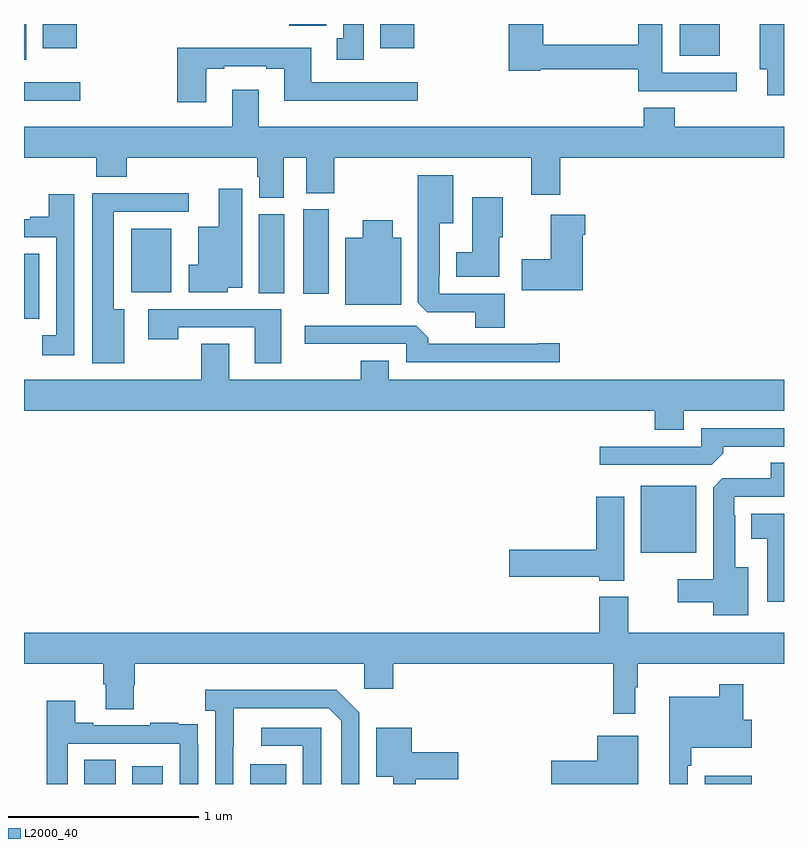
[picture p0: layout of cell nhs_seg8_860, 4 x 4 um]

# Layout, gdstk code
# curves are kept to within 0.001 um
import gdstk
lib = gdstk.Library(unit=1e-6, precision=1e-09)
def R(c, l, rs):  # rectangles x0, y0, x1, y1
    for r in rs: c.add(gdstk.rectangle(r[:2], r[2:], *l))
def P(c, l, *ps):  # polygons
    for p in ps: c.add(gdstk.Polygon(p, *l))
L2000_40 = (2000, 40)

nhs_seg8_860 = lib.new_cell('nhs_seg8_860')
R(nhs_seg8_860, L2000_40, [(167.318,1083.9,167.482,1084.028), (167.57,1083.9,167.731,1083.994), (168.191,1083.9,168.379,1084.003), (170.582,1083.9,170.831,1083.943), (170.246,1085.117,170.539,1085.47), (167,1086.349,167.08,1086.692), (168.47,1086.48,168.604,1086.924), (168.236,1086.484,168.37,1086.9), (167.564,1086.488,167.776,1086.823), (167,1087.496,167.296,1087.593), (167,1087.713,167.011,1087.9), (170.45,1087.733,170.662,1087.9), (167.099,1087.772,167.278,1087.9), (168.875,1087.772,169.054,1087.9), (168.395,1087.892,168.592,1087.9)])
P(nhs_seg8_860, L2000_40, [(170.752,1087.644),(170.359,1087.644),(170.359,1087.9),(170.234,1087.9),(170.234,1087.79),(169.733,1087.79),(169.733,1087.9),(169.55,1087.9),(169.55,1087.654),(169.716,1087.654),(169.716,1087.662),(170.234,1087.662),(170.234,1087.547),(170.752,1087.547)],
  [(168.787,1087.9),(168.68,1087.9),(168.68,1087.826),(168.647,1087.826),(168.647,1087.713),(168.787,1087.713)],
  [(171,1087.9),(170.873,1087.9),(170.873,1087.661),(170.912,1087.661),(170.912,1087.524),(171,1087.524)],
  [(167.959,1087.665),(168.055,1087.665),(168.055,1087.677),(168.275,1087.677),(168.275,1087.665),(168.371,1087.665),(168.371,1087.496),(169.072,1087.496),(169.072,1087.593),(168.511,1087.593),(168.511,1087.774),(167.807,1087.774),(167.807,1087.488),(167.959,1087.488)],
  [(168.367,1087.196),(168.485,1087.196),(168.485,1087.009),(168.633,1087.009),(168.633,1087.196),(169.67,1087.196),(169.67,1087.002),(169.823,1087.002),(169.823,1087.196),(171,1087.196),(171,1087.36),(170.426,1087.36),(170.426,1087.459),(170.261,1087.459),(170.261,1087.36),(168.235,1087.36),(168.235,1087.555),(168.095,1087.555),(168.095,1087.36),(167,1087.36),(167,1087.196),(167.38,1087.196),(167.38,1087.097),(167.54,1087.097),(167.54,1087.196),(168.227,1087.196),(168.227,1087.095),(168.239,1087.095),(168.239,1086.985),(168.367,1086.985)],
  [(169.529,1086.48),(169.185,1086.48),(169.185,1086.577),(169.189,1086.577),(169.189,1086.851),(169.258,1086.851),(169.258,1087.105),(169.073,1087.105),(169.073,1086.433),(169.122,1086.384),(169.376,1086.384),(169.376,1086.301),(169.529,1086.301)],
  [(168.072,1086.512),(168.148,1086.512),(168.148,1087.033),(168.026,1087.033),(168.026,1086.832),(167.918,1086.832),(167.918,1086.634),(167.867,1086.634),(167.867,1086.488),(168.072,1086.488)],
  [(167.527,1086.4),(167.473,1086.4),(167.473,1086.912),(167.866,1086.912),(167.866,1087.01),(167.36,1087.01),(167.36,1086.114),(167.527,1086.114)],
  [(167.265,1087.003),(167.129,1087.003),(167.129,1086.886),(167.033,1086.886),(167.033,1086.873),(167,1086.873),(167,1086.777),(167.169,1086.777),(167.169,1086.261),(167.097,1086.261),(167.097,1086.156),(167.265,1086.156)],
  [(169.501,1086.777),(169.519,1086.777),(169.519,1086.988),(169.358,1086.988),(169.358,1086.7),(169.274,1086.7),(169.274,1086.569),(169.501,1086.569)],
  [(169.942,1086.791),(169.955,1086.791),(169.955,1086.895),(169.772,1086.895),(169.772,1086.663),(169.62,1086.663),(169.62,1086.5),(169.942,1086.5)],
  [(168.985,1086.775),(168.94,1086.775),(168.94,1086.868),(168.782,1086.868),(168.782,1086.775),(168.692,1086.775),(168.692,1086.422),(168.985,1086.422)],
  [(168.355,1086.399),(167.655,1086.399),(167.655,1086.24),(167.811,1086.24),(167.811,1086.303),(168.215,1086.303),(168.215,1086.114),(168.355,1086.114)],
  [(169.819,1086.221),(169.706,1086.221),(169.706,1086.216),(169.127,1086.216),(169.127,1086.25),(169.065,1086.312),(168.477,1086.312),(168.477,1086.216),(169.011,1086.216),(169.011,1086.12),(169.819,1086.12)],
  [(170.473,1085.864),(171,1085.864),(171,1086.028),(168.919,1086.028),(168.919,1086.127),(168.772,1086.127),(168.772,1086.028),(168.079,1086.028),(168.079,1086.218),(167.932,1086.218),(167.932,1086.028),(167,1086.028),(167,1085.864),(170.321,1085.864),(170.321,1085.765),(170.473,1085.765)],
  [(170.681,1085.642),(170.681,1085.676),(171,1085.676),(171,1085.772),(170.565,1085.772),(170.565,1085.676),(170.031,1085.676),(170.031,1085.58),(170.619,1085.58)],
  [(170.812,1085.041),(170.743,1085.041),(170.743,1085.315),(170.739,1085.315),(170.739,1085.412),(171,1085.412),(171,1085.591),(170.93,1085.591),(170.93,1085.508),(170.676,1085.508),(170.627,1085.459),(170.627,1084.978),(170.442,1084.978),(170.442,1084.856),(170.627,1084.856),(170.627,1084.787),(170.812,1084.787)],
  [(170.158,1085.413),(170.012,1085.413),(170.012,1085.132),(169.554,1085.132),(169.554,1084.99),(170.028,1084.99),(170.028,1084.97),(170.158,1084.97)],
  [(171,1085.323),(170.828,1085.323),(170.828,1085.192),(170.912,1085.192),(170.912,1084.86),(171,1084.86)],
  [(170.218,1084.409),(170.23,1084.409),(170.23,1084.532),(171,1084.532),(171,1084.696),(170.179,1084.696),(170.179,1084.885),(170.027,1084.885),(170.027,1084.696),(167,1084.696),(167,1084.532),(167.417,1084.532),(167.417,1084.426),(167.429,1084.426),(167.429,1084.294),(167.577,1084.294),(167.577,1084.419),(167.582,1084.419),(167.582,1084.532),(168.792,1084.532),(168.792,1084.401),(168.944,1084.401),(168.944,1084.532),(170.101,1084.532),(170.101,1084.269),(170.218,1084.269)],
  [(170.493,1083.995),(170.513,1083.995),(170.513,1084.091),(170.83,1084.091),(170.83,1084.239),(170.786,1084.239),(170.786,1084.426),(170.658,1084.426),(170.658,1084.36),(170.396,1084.36),(170.396,1083.9),(170.493,1083.9)],
  [(168.102,1084.099),(168.103,1084.299),(168.603,1084.299),(168.669,1084.233),(168.669,1083.9),(168.765,1083.9),(168.765,1084.275),(168.644,1084.396),(167.955,1084.396),(167.955,1084.286),(168.006,1084.286),(168.006,1083.9),(168.102,1083.9)],
  [(167.229,1084.113),(167.82,1084.113),(167.82,1083.9),(167.916,1083.9),(167.916,1084.106),(167.915,1084.106),(167.915,1084.215),(167.813,1084.215),(167.813,1084.222),(167.665,1084.222),(167.665,1084.209),(167.365,1084.209),(167.365,1084.222),(167.269,1084.222),(167.269,1084.339),(167.121,1084.339),(167.121,1083.9),(167.229,1083.9)],
  [(168.564,1084.197),(168.249,1084.197),(168.249,1084.101),(168.468,1084.101),(168.468,1083.9),(168.564,1083.9)],
  [(169.061,1083.926),(169.285,1083.926),(169.285,1084.068),(169.042,1084.068),(169.042,1084.195),(168.854,1084.195),(168.854,1083.938),(168.944,1083.938),(168.944,1083.9),(169.061,1083.9)],
  [(170.233,1084.153),(170.018,1084.153),(170.018,1084.022),(169.776,1084.022),(169.776,1083.9),(170.233,1083.9)])

lib.write_gds('nhs_seg8_860.gds')
